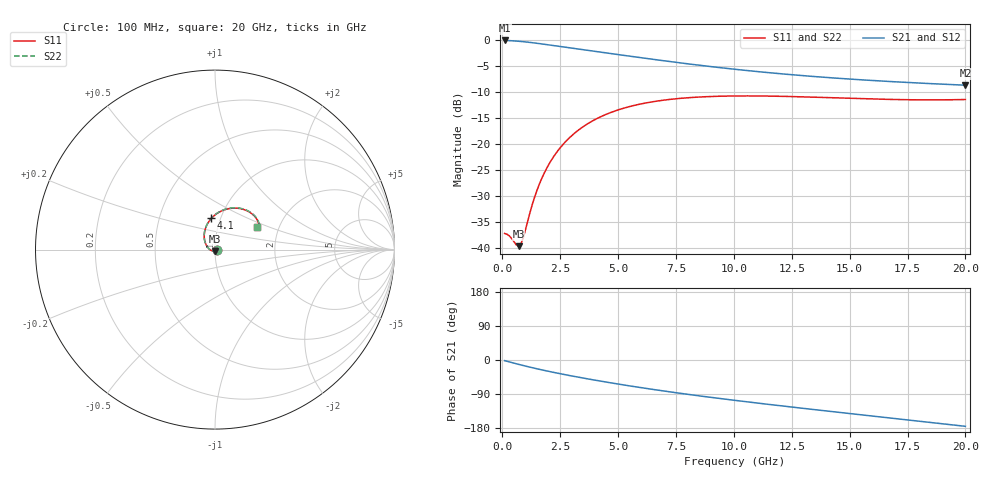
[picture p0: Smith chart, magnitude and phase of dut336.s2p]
! Touchstone file exported from HFSS 2024.1.0
!  File:  C:/UserFiles/LocalFiles/RDL_TSV_Batchsim/temp_RDL_TSV_336_1779633566.aedt
!  Generated:  10:51:07 PM May 24, 2026
!  Design:  RDL_TSV
!  Project:  temp_RDL_TSV_336_1779633566
!  Setup:  Setup1
!  Solution:  Sweep
! Variables:
!  dtsv = 10.29um
!  hbump = 3um
!  htsv = 86.73um
!  ldown = 410.58um
!  lrdl = 256.17um
!  p = 40
!  p1 = 53.99um
!  rhole = 10um
!  subl = 2256.42um
!  t = 450um
!  tdown = 3.19um
!  trdl = 2.3um
!  viad = 10um
!  wdown = 18.52um
!  wrdl = 28.95um
!  xbump = 18um
# GHz S MA R 50.000000
! Terminal data exported
! Port[1] = TM1_1_T1
! Port[2] = TM1_4_T1
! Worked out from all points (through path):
!   200 points, 100 MHz to 20 GHz, reference 50 ohm
!   highest |S21| = -0.13 dB at 100 MHz (marker M1); lowest = -8.7 dB at 20 GHz (marker M2)
!   group delay of S21, straight-line fit = 22.7 ps
!   lowest |S11| = -39.7 dB at 700 MHz (marker M3), VSWR 1.02, Z = 50.1 - j1.03 ohm
!   |S11| at or under -10 dB: start of sweep to end of sweep
!   |S22| runs from -39.7 to -10.7 dB; largest |S21 - S12| = 8.5e-15
!   S11 on the Smith chart (normalised r, x): 100 MHz: 1.03, -0.00; 4.1 GHz: 0.91, +0.33; 20 GHz: 1.55, +0.42
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0.1  0.01371 -6.8  0.9857 -1.7  0.9857 -1.7  0.01371 -6.8
! Gamma 0 0 0 0
! Port Impedance 50 0 50 0
0.3  0.01302 -23.5  0.9822 -5.0  0.9822 -5.0  0.01301 -23.5
0.6  0.01068 -64.5  0.9727 -9.8  0.9727 -9.8  0.01065 -64.6
0.7  0.01035 -84.5  0.9687 -11.4  0.9687 -11.4  0.01032 -84.8
0.8  0.01084 -106.3  0.9643 -13.0  0.9643 -13.0  0.01083 -106.7
0.9  0.01237 -126.8  0.9596 -14.5  0.9596 -14.5  0.01239 -127.2
1.2  0.02195 -168.0  0.9436 -19.0  0.9436 -19.0  0.02206 -168.2
1.4  0.03084 176.1  0.9319 -21.8  0.9319 -21.8  0.03102 175.9
1.6  0.04085 164.4  0.9196 -24.6  0.9196 -24.6  0.04108 164.3
1.9  0.05712 150.9  0.9006 -28.6  0.9006 -28.6  0.05745 150.8
2.2  0.07419 140.1  0.8815 -32.5  0.8815 -32.5  0.07462 140.0
2.6  0.09722 128.2  0.8564 -37.4  0.8564 -37.4  0.09779 128.2
3  0.1198 118.2  0.8319 -42.1  0.8319 -42.1  0.1205 118.2
3.5  0.1464 107.5  0.8025 -47.7  0.8025 -47.7  0.1473 107.5
4.1  0.1753 96.6  0.7687 -54.2  0.7687 -54.2  0.1764 96.6
5.3  0.2218 79.1  0.7059 -66.4  0.7059 -66.4  0.2232 79.2
6.8  0.2597 62.8  0.6362 -80.3  0.6362 -80.3  0.2614 62.9
8.4  0.2808 50.1  0.5733 -93.8  0.5733 -93.8  0.2827 50.3
10.1  0.2884 40.4  0.5191 -106.9  0.5191 -106.9  0.2904 40.5
13.4  0.2809 29.4  0.4445 -130.4  0.4445 -130.4  0.283 29.6
16.7  0.2672 26.3  0.3975 -152.7  0.3975 -152.7  0.2693 26.4
20  0.2665 28.0  0.3658 -175.0  0.3658 -175.0  0.2685 28.2
